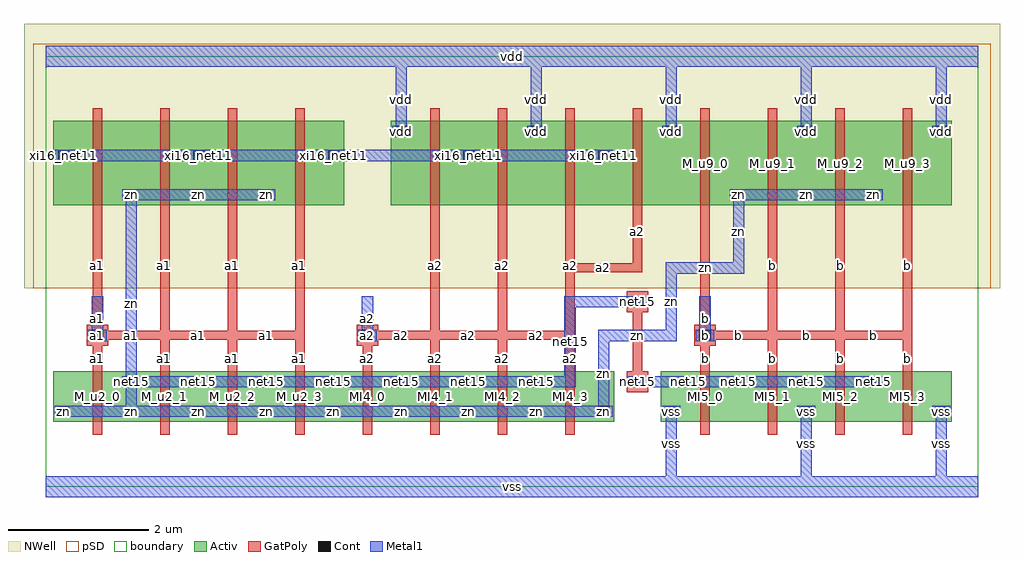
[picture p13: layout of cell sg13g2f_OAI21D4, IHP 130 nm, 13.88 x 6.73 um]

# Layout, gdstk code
import gdstk
lib = gdstk.Library(unit=1e-6, precision=1e-09)
def R(c, l, rs):  # rectangles x0, y0, x1, y1
    for r in rs: c.add(gdstk.rectangle(r[:2], r[2:], *l))
def A(c, l, x, y, w, h, nx, ny, dx, dy):  # array of equal rectangles
    R(c, l, [(x+i*dx, y+j*dy, x+i*dx+w, y+j*dy+h) for i in range(nx) for j in range(ny)])
Activ = (1, 0)
GatPoly = (5, 0)
Cont = (6, 0)
Metal1 = (8, 0)
pSD = (14, 0)
NWell = (31, 0)
TEXT = (63, 0)
boundary = (189, 4)

sg13g2f_oai21d4 = lib.new_cell('sg13g2f_OAI21D4')
A(sg13g2f_oai21d4, Activ, 0.105, 0.92, 1.26, 0.72, 8, 1, 0.96, 0)
A(sg13g2f_oai21d4, Activ, 0.105, 0.92, 0.3, 0.3, 5, 2, 1.92, 3.64)
A(sg13g2f_oai21d4, Activ, 8.745, 0.92, 1.26, 0.72, 4, 1, 0.96, 0)
A(sg13g2f_oai21d4, Activ, 8.745, 0.92, 0.3, 0.3, 3, 1, 1.92, 0)
A(sg13g2f_oai21d4, Activ, 1.065, 1.34, 0.3, 0.3, 4, 1, 1.92, 0)
A(sg13g2f_oai21d4, Activ, 0.105, 4, 1.26, 1.2, 4, 1, 0.96, 0)
A(sg13g2f_oai21d4, Activ, 4.905, 4, 1.26, 1.2, 8, 1, 0.96, 0)
A(sg13g2f_oai21d4, Activ, 4.905, 4.9, 0.3, 0.3, 5, 1, 1.92, 0)
R(sg13g2f_oai21d4, Activ, [(9.705,1.34,10.005,1.64), (11.625,1.34,11.925,1.64), (1.065,4,1.365,4.3), (2.985,4,3.285,4.3), (9.705,4,10.005,4.3), (11.625,4,11.925,4.3)])
A(sg13g2f_oai21d4, GatPoly, 0.67, 0.74, 0.13, 1.08, 8, 1, 0.96, 0)
A(sg13g2f_oai21d4, GatPoly, 9.31, 0.74, 0.13, 1.08, 4, 1, 0.96, 0)
A(sg13g2f_oai21d4, GatPoly, 0.67, 1.425, 0.13, 0.79, 8, 1, 0.96, 0)
A(sg13g2f_oai21d4, GatPoly, 9.31, 1.425, 0.13, 0.79, 4, 1, 0.96, 0)
A(sg13g2f_oai21d4, GatPoly, 0.67, 2.085, 1.09, 0.13, 3, 1, 0.96, 0)
A(sg13g2f_oai21d4, GatPoly, 0.67, 2.085, 0.13, 2.13, 4, 1, 0.96, 0)
A(sg13g2f_oai21d4, GatPoly, 4.51, 2.085, 1.09, 0.13, 3, 1, 0.96, 0)
A(sg13g2f_oai21d4, GatPoly, 5.47, 2.085, 0.13, 2.13, 3, 1, 0.96, 0)
A(sg13g2f_oai21d4, GatPoly, 9.31, 2.085, 1.09, 0.13, 3, 1, 0.96, 0)
A(sg13g2f_oai21d4, GatPoly, 9.31, 2.085, 0.13, 2.13, 4, 1, 0.96, 0)
A(sg13g2f_oai21d4, GatPoly, 0.67, 3.82, 0.13, 1.56, 4, 1, 0.96, 0)
A(sg13g2f_oai21d4, GatPoly, 5.47, 3.82, 0.13, 1.56, 8, 1, 0.96, 0)
R(sg13g2f_oai21d4, GatPoly, [(8.265,1.34,8.565,1.64), (8.35,1.425,8.48,2.695), (0.585,2,0.885,2.3), (4.425,2,4.725,2.3), (9.225,2,9.525,2.3), (8.265,2.48,8.565,2.78), (7.39,3.045,8.48,3.175), (8.35,3.045,8.48,4.215)])
A(sg13g2f_oai21d4, Cont, 0.175, 0.99, 0.16, 0.16, 5, 2, 1.92, 3.64)
A(sg13g2f_oai21d4, Cont, 8.815, 0.99, 0.16, 0.16, 3, 1, 1.92, 0)
A(sg13g2f_oai21d4, Cont, 1.135, 1.41, 0.16, 0.16, 4, 1, 1.92, 0)
A(sg13g2f_oai21d4, Cont, 4.975, 4.97, 0.16, 0.16, 5, 1, 1.92, 0)
R(sg13g2f_oai21d4, Cont, [(8.335,1.41,8.495,1.57), (9.775,1.41,9.935,1.57), (11.695,1.41,11.855,1.57), (0.655,2.07,0.815,2.23), (4.495,2.07,4.655,2.23), (9.295,2.07,9.455,2.23), (8.335,2.55,8.495,2.71), (1.135,4.07,1.295,4.23), (3.055,4.07,3.215,4.23), (9.775,4.07,9.935,4.23), (11.695,4.07,11.855,4.23)])
A(sg13g2f_oai21d4, Metal1, 8.815, 0.07, 0.16, 1.08, 3, 1, 1.92, 0)
A(sg13g2f_oai21d4, Metal1, 0.125, 0.99, 0.26, 0.16, 5, 2, 1.92, 3.64)
A(sg13g2f_oai21d4, Metal1, 0.175, 0.99, 2.08, 0.16, 4, 2, 1.92, 3.64)
A(sg13g2f_oai21d4, Metal1, 8.765, 0.99, 0.26, 0.16, 3, 1, 1.92, 0)
A(sg13g2f_oai21d4, Metal1, 1.085, 1.41, 0.26, 0.16, 4, 1, 1.92, 0)
A(sg13g2f_oai21d4, Metal1, 1.135, 1.41, 2.08, 0.16, 3, 1, 1.92, 0)
A(sg13g2f_oai21d4, Metal1, 4.925, 4.97, 0.26, 0.16, 5, 1, 1.92, 0)
A(sg13g2f_oai21d4, Metal1, 4.975, 4.97, 0.16, 1.08, 5, 1, 1.92, 0)
R(sg13g2f_oai21d4, Metal1, [(0,-0.15,13.26,0.15), (1.135,0.99,1.295,4.23), (7.855,0.99,8.015,2.23), (6.895,1.41,7.535,1.57), (7.375,1.41,7.535,2.71), (8.285,1.41,8.545,1.57), (8.335,1.41,9.935,1.57), (9.725,1.41,9.985,1.57), (9.775,1.41,11.855,1.57), (11.645,1.41,11.905,1.57), (0.605,2.07,0.865,2.23), (0.655,2.07,0.815,2.71), (4.445,2.07,4.705,2.23), (4.495,2.07,4.655,2.71), (7.855,2.07,8.975,2.23), (8.815,2.07,8.975,3.19), (9.245,2.07,9.505,2.23), (9.295,2.07,9.455,2.71), (7.375,2.55,8.495,2.71), (8.285,2.55,8.545,2.71), (8.815,3.03,9.935,3.19), (9.775,3.03,9.935,4.23), (1.085,4.07,1.345,4.23), (1.135,4.07,3.215,4.23), (3.005,4.07,3.265,4.23), (9.725,4.07,9.985,4.23), (9.775,4.07,11.855,4.23), (11.645,4.07,11.905,4.23), (0,5.97,13.26,6.27)])
R(sg13g2f_oai21d4, pSD, [(-0.18,2.82,13.44,5.94), (-0.18,5.94,13.44,6.3)])
R(sg13g2f_oai21d4, NWell, [(-0.31,2.82,13.57,6.58)])
R(sg13g2f_oai21d4, boundary, [(0,0,13.26,6.12)])
sg13g2f_oai21d4.add(gdstk.FlexPath([(0.105,0.41),(12.885,0.41)], 0, ends="flush", simple_path=True, layer=63, datatype=0))  # TEXT
sg13g2f_oai21d4.add(gdstk.FlexPath([(0.105,1.07),(12.885,1.07)], 0, ends="flush", simple_path=True, layer=63, datatype=0))  # TEXT
sg13g2f_oai21d4.add(gdstk.FlexPath([(0.105,1.49),(12.885,1.49)], 0, ends="flush", simple_path=True, layer=63, datatype=0))  # TEXT
sg13g2f_oai21d4.add(gdstk.FlexPath([(0.105,2.15),(12.885,2.15)], 0, ends="flush", simple_path=True, layer=63, datatype=0))  # TEXT
sg13g2f_oai21d4.add(gdstk.FlexPath([(0.105,2.63),(12.885,2.63)], 0, ends="flush", simple_path=True, layer=63, datatype=0))  # TEXT
sg13g2f_oai21d4.add(gdstk.FlexPath([(0.105,3.11),(12.885,3.11)], 0, ends="flush", simple_path=True, layer=63, datatype=0))  # TEXT
sg13g2f_oai21d4.add(gdstk.FlexPath([(0.105,4.15),(12.885,4.15)], 0, ends="flush", simple_path=True, layer=63, datatype=0))  # TEXT
sg13g2f_oai21d4.add(gdstk.FlexPath([(0.105,4.71),(12.885,4.71)], 0, ends="flush", simple_path=True, layer=63, datatype=0))  # TEXT
sg13g2f_oai21d4.add(gdstk.FlexPath([(0.105,5.05),(12.885,5.05)], 0, ends="flush", simple_path=True, layer=63, datatype=0))  # TEXT
sg13g2f_oai21d4.add(gdstk.FlexPath([(0.105,5.71),(12.885,5.71)], 0, ends="flush", simple_path=True, layer=63, datatype=0))  # TEXT
sg13g2f_oai21d4.add(gdstk.FlexPath([(0.255,0.07),(0.255,6.05)], 0, ends="flush", simple_path=True, layer=63, datatype=0))  # TEXT
sg13g2f_oai21d4.add(gdstk.FlexPath([(0.735,0.07),(0.735,6.05)], 0, ends="flush", simple_path=True, layer=63, datatype=0))  # TEXT
sg13g2f_oai21d4.add(gdstk.FlexPath([(1.215,0.07),(1.215,6.05)], 0, ends="flush", simple_path=True, layer=63, datatype=0))  # TEXT
sg13g2f_oai21d4.add(gdstk.FlexPath([(1.695,0.07),(1.695,6.05)], 0, ends="flush", simple_path=True, layer=63, datatype=0))  # TEXT
sg13g2f_oai21d4.add(gdstk.FlexPath([(2.175,0.07),(2.175,6.05)], 0, ends="flush", simple_path=True, layer=63, datatype=0))  # TEXT
sg13g2f_oai21d4.add(gdstk.FlexPath([(2.655,0.07),(2.655,6.05)], 0, ends="flush", simple_path=True, layer=63, datatype=0))  # TEXT
sg13g2f_oai21d4.add(gdstk.FlexPath([(3.135,0.07),(3.135,6.05)], 0, ends="flush", simple_path=True, layer=63, datatype=0))  # TEXT
sg13g2f_oai21d4.add(gdstk.FlexPath([(3.615,0.07),(3.615,6.05)], 0, ends="flush", simple_path=True, layer=63, datatype=0))  # TEXT
sg13g2f_oai21d4.add(gdstk.FlexPath([(4.095,0.07),(4.095,6.05)], 0, ends="flush", simple_path=True, layer=63, datatype=0))  # TEXT
sg13g2f_oai21d4.add(gdstk.FlexPath([(4.575,0.07),(4.575,6.05)], 0, ends="flush", simple_path=True, layer=63, datatype=0))  # TEXT
sg13g2f_oai21d4.add(gdstk.FlexPath([(5.055,0.07),(5.055,6.05)], 0, ends="flush", simple_path=True, layer=63, datatype=0))  # TEXT
sg13g2f_oai21d4.add(gdstk.FlexPath([(5.535,0.07),(5.535,6.05)], 0, ends="flush", simple_path=True, layer=63, datatype=0))  # TEXT
sg13g2f_oai21d4.add(gdstk.FlexPath([(6.015,0.07),(6.015,6.05)], 0, ends="flush", simple_path=True, layer=63, datatype=0))  # TEXT
sg13g2f_oai21d4.add(gdstk.FlexPath([(6.495,0.07),(6.495,6.05)], 0, ends="flush", simple_path=True, layer=63, datatype=0))  # TEXT
sg13g2f_oai21d4.add(gdstk.FlexPath([(6.975,0.07),(6.975,6.05)], 0, ends="flush", simple_path=True, layer=63, datatype=0))  # TEXT
sg13g2f_oai21d4.add(gdstk.FlexPath([(7.455,0.07),(7.455,6.05)], 0, ends="flush", simple_path=True, layer=63, datatype=0))  # TEXT
sg13g2f_oai21d4.add(gdstk.FlexPath([(7.935,0.07),(7.935,6.05)], 0, ends="flush", simple_path=True, layer=63, datatype=0))  # TEXT
sg13g2f_oai21d4.add(gdstk.FlexPath([(8.415,0.07),(8.415,6.05)], 0, ends="flush", simple_path=True, layer=63, datatype=0))  # TEXT
sg13g2f_oai21d4.add(gdstk.FlexPath([(8.895,0.07),(8.895,6.05)], 0, ends="flush", simple_path=True, layer=63, datatype=0))  # TEXT
sg13g2f_oai21d4.add(gdstk.FlexPath([(9.375,0.07),(9.375,6.05)], 0, ends="flush", simple_path=True, layer=63, datatype=0))  # TEXT
sg13g2f_oai21d4.add(gdstk.FlexPath([(9.855,0.07),(9.855,6.05)], 0, ends="flush", simple_path=True, layer=63, datatype=0))  # TEXT
sg13g2f_oai21d4.add(gdstk.FlexPath([(10.335,0.07),(10.335,6.05)], 0, ends="flush", simple_path=True, layer=63, datatype=0))  # TEXT
sg13g2f_oai21d4.add(gdstk.FlexPath([(10.815,0.07),(10.815,6.05)], 0, ends="flush", simple_path=True, layer=63, datatype=0))  # TEXT
sg13g2f_oai21d4.add(gdstk.FlexPath([(11.295,0.07),(11.295,6.05)], 0, ends="flush", simple_path=True, layer=63, datatype=0))  # TEXT
sg13g2f_oai21d4.add(gdstk.FlexPath([(11.775,0.07),(11.775,6.05)], 0, ends="flush", simple_path=True, layer=63, datatype=0))  # TEXT
sg13g2f_oai21d4.add(gdstk.FlexPath([(12.255,0.07),(12.255,6.05)], 0, ends="flush", simple_path=True, layer=63, datatype=0))  # TEXT
sg13g2f_oai21d4.add(gdstk.FlexPath([(12.735,0.07),(12.735,6.05)], 0, ends="flush", simple_path=True, layer=63, datatype=0))  # TEXT
sg13g2f_oai21d4.add(gdstk.Label('zn', (0.255,1.07), layer=6, texttype=0))
sg13g2f_oai21d4.add(gdstk.Label('zn', (2.175,1.07), layer=6, texttype=0))
sg13g2f_oai21d4.add(gdstk.Label('zn', (4.095,1.07), layer=6, texttype=0))
sg13g2f_oai21d4.add(gdstk.Label('zn', (6.015,1.07), layer=6, texttype=0))
sg13g2f_oai21d4.add(gdstk.Label('zn', (7.935,1.07), layer=6, texttype=0))
sg13g2f_oai21d4.add(gdstk.Label('zn', (1.215,4.15), layer=6, texttype=0))
sg13g2f_oai21d4.add(gdstk.Label('zn', (3.135,4.15), layer=6, texttype=0))
sg13g2f_oai21d4.add(gdstk.Label('zn', (9.855,4.15), layer=6, texttype=0))
sg13g2f_oai21d4.add(gdstk.Label('zn', (11.775,4.15), layer=6, texttype=0))
sg13g2f_oai21d4.add(gdstk.Label('a1', (0.735,2.15), layer=6, texttype=0))
sg13g2f_oai21d4.add(gdstk.Label('net15', (1.215,1.49), layer=6, texttype=0))
sg13g2f_oai21d4.add(gdstk.Label('net15', (3.135,1.49), layer=6, texttype=0))
sg13g2f_oai21d4.add(gdstk.Label('net15', (5.055,1.49), layer=6, texttype=0))
sg13g2f_oai21d4.add(gdstk.Label('net15', (6.975,1.49), layer=6, texttype=0))
sg13g2f_oai21d4.add(gdstk.Label('net15', (9.855,1.49), layer=6, texttype=0))
sg13g2f_oai21d4.add(gdstk.Label('net15', (11.775,1.49), layer=6, texttype=0))
sg13g2f_oai21d4.add(gdstk.Label('net15', (8.415,2.63), layer=6, texttype=0))
sg13g2f_oai21d4.add(gdstk.Label('net15', (8.415,1.49), layer=6, texttype=0))
sg13g2f_oai21d4.add(gdstk.Label('a2', (4.575,2.15), layer=6, texttype=0))
sg13g2f_oai21d4.add(gdstk.Label('b', (9.375,2.15), layer=6, texttype=0))
sg13g2f_oai21d4.add(gdstk.Label('xi16_net11', (0.255,4.71), layer=6, texttype=0))
sg13g2f_oai21d4.add(gdstk.Label('xi16_net11', (2.175,4.71), layer=6, texttype=0))
sg13g2f_oai21d4.add(gdstk.Label('xi16_net11', (4.095,4.71), layer=6, texttype=0))
sg13g2f_oai21d4.add(gdstk.Label('xi16_net11', (6.015,4.71), layer=6, texttype=0))
sg13g2f_oai21d4.add(gdstk.Label('xi16_net11', (7.935,4.71), layer=6, texttype=0))
sg13g2f_oai21d4.add(gdstk.Label('vss', (8.895,1.07), layer=6, texttype=0))
sg13g2f_oai21d4.add(gdstk.Label('vss', (10.815,1.07), layer=6, texttype=0))
sg13g2f_oai21d4.add(gdstk.Label('vss', (12.735,1.07), layer=6, texttype=0))
sg13g2f_oai21d4.add(gdstk.Label('vdd', (5.055,5.05), layer=6, texttype=0))
sg13g2f_oai21d4.add(gdstk.Label('vdd', (6.975,5.05), layer=6, texttype=0))
sg13g2f_oai21d4.add(gdstk.Label('vdd', (8.895,5.05), layer=6, texttype=0))
sg13g2f_oai21d4.add(gdstk.Label('vdd', (10.815,5.05), layer=6, texttype=0))
sg13g2f_oai21d4.add(gdstk.Label('vdd', (12.735,5.05), layer=6, texttype=0))
sg13g2f_oai21d4.add(gdstk.Label('net15', (1.215,1.49), layer=8, texttype=0))
sg13g2f_oai21d4.add(gdstk.Label('net15', (3.135,1.49), layer=8, texttype=0))
sg13g2f_oai21d4.add(gdstk.Label('net15', (5.055,1.49), layer=8, texttype=0))
sg13g2f_oai21d4.add(gdstk.Label('net15', (6.975,1.49), layer=8, texttype=0))
sg13g2f_oai21d4.add(gdstk.Label('net15', (9.855,1.49), layer=8, texttype=0))
sg13g2f_oai21d4.add(gdstk.Label('net15', (11.775,1.49), layer=8, texttype=0))
sg13g2f_oai21d4.add(gdstk.Label('net15', (2.175,1.49), layer=8, texttype=0))
sg13g2f_oai21d4.add(gdstk.Label('net15', (4.095,1.49), layer=8, texttype=0))
sg13g2f_oai21d4.add(gdstk.Label('net15', (6.015,1.49), layer=8, texttype=0))
sg13g2f_oai21d4.add(gdstk.Label('net15', (7.215,1.49), layer=8, texttype=0))
sg13g2f_oai21d4.add(gdstk.Label('net15', (7.455,2.06), layer=8, texttype=0))
sg13g2f_oai21d4.add(gdstk.Label('net15', (7.935,2.63), layer=8, texttype=0))
sg13g2f_oai21d4.add(gdstk.Label('net15', (8.415,2.63), layer=8, texttype=0))
sg13g2f_oai21d4.add(gdstk.Label('net15', (8.415,1.49), layer=8, texttype=0))
sg13g2f_oai21d4.add(gdstk.Label('net15', (9.135,1.49), layer=8, texttype=0))
sg13g2f_oai21d4.add(gdstk.Label('net15', (10.815,1.49), layer=8, texttype=0))
sg13g2f_oai21d4.add(gdstk.Label('xi16_net11', (0.255,4.71), layer=8, texttype=0))
sg13g2f_oai21d4.add(gdstk.Label('xi16_net11', (2.175,4.71), layer=8, texttype=0))
sg13g2f_oai21d4.add(gdstk.Label('xi16_net11', (4.095,4.71), layer=8, texttype=0))
sg13g2f_oai21d4.add(gdstk.Label('xi16_net11', (6.015,4.71), layer=8, texttype=0))
sg13g2f_oai21d4.add(gdstk.Label('xi16_net11', (7.935,4.71), layer=8, texttype=0))
sg13g2f_oai21d4.add(gdstk.Label('xi16_net11', (1.215,4.71), layer=8, texttype=0))
sg13g2f_oai21d4.add(gdstk.Label('xi16_net11', (3.135,4.71), layer=8, texttype=0))
sg13g2f_oai21d4.add(gdstk.Label('xi16_net11', (5.055,4.71), layer=8, texttype=0))
sg13g2f_oai21d4.add(gdstk.Label('xi16_net11', (6.975,4.71), layer=8, texttype=0))
sg13g2f_oai21d4.add(gdstk.Label('vss', (8.895,1.07), layer=8, texttype=0))
sg13g2f_oai21d4.add(gdstk.Label('vss', (8.895,0.61), layer=8, texttype=0))
sg13g2f_oai21d4.add(gdstk.Label('vss', (10.815,1.07), layer=8, texttype=0))
sg13g2f_oai21d4.add(gdstk.Label('vss', (10.815,0.61), layer=8, texttype=0))
sg13g2f_oai21d4.add(gdstk.Label('vss', (12.735,1.07), layer=8, texttype=0))
sg13g2f_oai21d4.add(gdstk.Label('vss', (12.735,0.61), layer=8, texttype=0))
sg13g2f_oai21d4.add(gdstk.Label('vdd', (5.055,5.05), layer=8, texttype=0))
sg13g2f_oai21d4.add(gdstk.Label('vdd', (5.055,5.51), layer=8, texttype=0))
sg13g2f_oai21d4.add(gdstk.Label('vdd', (6.975,5.05), layer=8, texttype=0))
sg13g2f_oai21d4.add(gdstk.Label('vdd', (6.975,5.51), layer=8, texttype=0))
sg13g2f_oai21d4.add(gdstk.Label('vdd', (8.895,5.05), layer=8, texttype=0))
sg13g2f_oai21d4.add(gdstk.Label('vdd', (8.895,5.51), layer=8, texttype=0))
sg13g2f_oai21d4.add(gdstk.Label('vdd', (10.815,5.05), layer=8, texttype=0))
sg13g2f_oai21d4.add(gdstk.Label('vdd', (10.815,5.51), layer=8, texttype=0))
sg13g2f_oai21d4.add(gdstk.Label('vdd', (12.735,5.05), layer=8, texttype=0))
sg13g2f_oai21d4.add(gdstk.Label('vdd', (12.735,5.51), layer=8, texttype=0))
sg13g2f_oai21d4.add(gdstk.Label('zn', (0.255,1.07), layer=8, texttype=2))
sg13g2f_oai21d4.add(gdstk.Label('zn', (2.175,1.07), layer=8, texttype=2))
sg13g2f_oai21d4.add(gdstk.Label('zn', (4.095,1.07), layer=8, texttype=2))
sg13g2f_oai21d4.add(gdstk.Label('zn', (6.015,1.07), layer=8, texttype=2))
sg13g2f_oai21d4.add(gdstk.Label('zn', (7.935,1.07), layer=8, texttype=2))
sg13g2f_oai21d4.add(gdstk.Label('zn', (1.215,4.15), layer=8, texttype=2))
sg13g2f_oai21d4.add(gdstk.Label('zn', (3.135,4.15), layer=8, texttype=2))
sg13g2f_oai21d4.add(gdstk.Label('zn', (9.855,4.15), layer=8, texttype=2))
sg13g2f_oai21d4.add(gdstk.Label('zn', (11.775,4.15), layer=8, texttype=2))
sg13g2f_oai21d4.add(gdstk.Label('zn', (1.215,1.07), layer=8, texttype=2))
sg13g2f_oai21d4.add(gdstk.Label('zn', (3.135,1.07), layer=8, texttype=2))
sg13g2f_oai21d4.add(gdstk.Label('zn', (5.055,1.07), layer=8, texttype=2))
sg13g2f_oai21d4.add(gdstk.Label('zn', (6.975,1.07), layer=8, texttype=2))
sg13g2f_oai21d4.add(gdstk.Label('zn', (1.215,2.61), layer=8, texttype=2))
sg13g2f_oai21d4.add(gdstk.Label('zn', (2.175,4.15), layer=8, texttype=2))
sg13g2f_oai21d4.add(gdstk.Label('zn', (7.935,1.61), layer=8, texttype=2))
sg13g2f_oai21d4.add(gdstk.Label('zn', (8.415,2.15), layer=8, texttype=2))
sg13g2f_oai21d4.add(gdstk.Label('zn', (8.895,2.63), layer=8, texttype=2))
sg13g2f_oai21d4.add(gdstk.Label('zn', (9.375,3.11), layer=8, texttype=2))
sg13g2f_oai21d4.add(gdstk.Label('zn', (9.855,3.63), layer=8, texttype=2))
sg13g2f_oai21d4.add(gdstk.Label('zn', (10.815,4.15), layer=8, texttype=2))
sg13g2f_oai21d4.add(gdstk.Label('a1', (0.735,2.15), layer=8, texttype=2))
sg13g2f_oai21d4.add(gdstk.Label('a1', (0.735,2.39), layer=8, texttype=2))
sg13g2f_oai21d4.add(gdstk.Label('a2', (4.575,2.15), layer=8, texttype=2))
sg13g2f_oai21d4.add(gdstk.Label('a2', (4.575,2.39), layer=8, texttype=2))
sg13g2f_oai21d4.add(gdstk.Label('b', (9.375,2.15), layer=8, texttype=2))
sg13g2f_oai21d4.add(gdstk.Label('b', (9.375,2.39), layer=8, texttype=2))
sg13g2f_oai21d4.add(gdstk.Label('vss', (6.63,0), layer=8, texttype=2))
sg13g2f_oai21d4.add(gdstk.Label('vdd', (6.63,6.12), layer=8, texttype=2))
sg13g2f_oai21d4.add(gdstk.Label('zn', (0.255,1.07), layer=8, texttype=2))
sg13g2f_oai21d4.add(gdstk.Label('zn', (2.175,1.07), layer=8, texttype=2))
sg13g2f_oai21d4.add(gdstk.Label('zn', (4.095,1.07), layer=8, texttype=2))
sg13g2f_oai21d4.add(gdstk.Label('zn', (6.015,1.07), layer=8, texttype=2))
sg13g2f_oai21d4.add(gdstk.Label('zn', (7.935,1.07), layer=8, texttype=2))
sg13g2f_oai21d4.add(gdstk.Label('zn', (1.215,4.15), layer=8, texttype=2))
sg13g2f_oai21d4.add(gdstk.Label('zn', (3.135,4.15), layer=8, texttype=2))
sg13g2f_oai21d4.add(gdstk.Label('zn', (9.855,4.15), layer=8, texttype=2))
sg13g2f_oai21d4.add(gdstk.Label('zn', (11.775,4.15), layer=8, texttype=2))
sg13g2f_oai21d4.add(gdstk.Label('zn', (1.215,1.07), layer=8, texttype=2))
sg13g2f_oai21d4.add(gdstk.Label('zn', (3.135,1.07), layer=8, texttype=2))
sg13g2f_oai21d4.add(gdstk.Label('zn', (5.055,1.07), layer=8, texttype=2))
sg13g2f_oai21d4.add(gdstk.Label('zn', (6.975,1.07), layer=8, texttype=2))
sg13g2f_oai21d4.add(gdstk.Label('zn', (1.215,2.61), layer=8, texttype=2))
sg13g2f_oai21d4.add(gdstk.Label('zn', (2.175,4.15), layer=8, texttype=2))
sg13g2f_oai21d4.add(gdstk.Label('zn', (7.935,1.61), layer=8, texttype=2))
sg13g2f_oai21d4.add(gdstk.Label('zn', (8.415,2.15), layer=8, texttype=2))
sg13g2f_oai21d4.add(gdstk.Label('zn', (8.895,2.63), layer=8, texttype=2))
sg13g2f_oai21d4.add(gdstk.Label('zn', (9.375,3.11), layer=8, texttype=2))
sg13g2f_oai21d4.add(gdstk.Label('zn', (9.855,3.63), layer=8, texttype=2))
sg13g2f_oai21d4.add(gdstk.Label('zn', (10.815,4.15), layer=8, texttype=2))
sg13g2f_oai21d4.add(gdstk.Label('a1', (0.735,2.15), layer=8, texttype=2))
sg13g2f_oai21d4.add(gdstk.Label('a1', (0.735,2.39), layer=8, texttype=2))
sg13g2f_oai21d4.add(gdstk.Label('a2', (4.575,2.15), layer=8, texttype=2))
sg13g2f_oai21d4.add(gdstk.Label('a2', (4.575,2.39), layer=8, texttype=2))
sg13g2f_oai21d4.add(gdstk.Label('b', (9.375,2.15), layer=8, texttype=2))
sg13g2f_oai21d4.add(gdstk.Label('b', (9.375,2.39), layer=8, texttype=2))
sg13g2f_oai21d4.add(gdstk.Label('vss', (6.63,0), layer=8, texttype=2))
sg13g2f_oai21d4.add(gdstk.Label('vdd', (6.63,6.12), layer=8, texttype=2))
sg13g2f_oai21d4.add(gdstk.Label('M_u2_0', (0.735,1.28), layer=1, texttype=0))
sg13g2f_oai21d4.add(gdstk.Label('M_u2_1', (1.695,1.28), layer=1, texttype=0))
sg13g2f_oai21d4.add(gdstk.Label('M_u2_2', (2.655,1.28), layer=1, texttype=0))
sg13g2f_oai21d4.add(gdstk.Label('M_u2_3', (3.615,1.28), layer=1, texttype=0))
sg13g2f_oai21d4.add(gdstk.Label('MI4_0', (4.575,1.28), layer=1, texttype=0))
sg13g2f_oai21d4.add(gdstk.Label('MI4_1', (5.535,1.28), layer=1, texttype=0))
sg13g2f_oai21d4.add(gdstk.Label('MI4_2', (6.495,1.28), layer=1, texttype=0))
sg13g2f_oai21d4.add(gdstk.Label('MI4_3', (7.455,1.28), layer=1, texttype=0))
sg13g2f_oai21d4.add(gdstk.Label('MI5_0', (9.375,1.28), layer=1, texttype=0))
sg13g2f_oai21d4.add(gdstk.Label('MI5_1', (10.335,1.28), layer=1, texttype=0))
sg13g2f_oai21d4.add(gdstk.Label('MI5_2', (11.295,1.28), layer=1, texttype=0))
sg13g2f_oai21d4.add(gdstk.Label('MI5_3', (12.255,1.28), layer=1, texttype=0))
sg13g2f_oai21d4.add(gdstk.Label('MI16_MI12_0', (0.735,4.6), layer=1, texttype=0))
sg13g2f_oai21d4.add(gdstk.Label('MI16_MI12_1', (1.695,4.6), layer=1, texttype=0))
sg13g2f_oai21d4.add(gdstk.Label('MI16_MI12_2', (2.655,4.6), layer=1, texttype=0))
sg13g2f_oai21d4.add(gdstk.Label('MI16_MI12_3', (3.615,4.6), layer=1, texttype=0))
sg13g2f_oai21d4.add(gdstk.Label('MI16_MI13_0', (5.535,4.6), layer=1, texttype=0))
sg13g2f_oai21d4.add(gdstk.Label('MI16_MI13_1', (6.495,4.6), layer=1, texttype=0))
sg13g2f_oai21d4.add(gdstk.Label('MI16_MI13_2', (7.455,4.6), layer=1, texttype=0))
sg13g2f_oai21d4.add(gdstk.Label('MI16_MI13_3', (8.415,4.6), layer=1, texttype=0))
sg13g2f_oai21d4.add(gdstk.Label('M_u9_0', (9.375,4.6), layer=1, texttype=0))
sg13g2f_oai21d4.add(gdstk.Label('M_u9_1', (10.335,4.6), layer=1, texttype=0))
sg13g2f_oai21d4.add(gdstk.Label('M_u9_2', (11.295,4.6), layer=1, texttype=0))
sg13g2f_oai21d4.add(gdstk.Label('M_u9_3', (12.255,4.6), layer=1, texttype=0))
sg13g2f_oai21d4.add(gdstk.Label('zn', (0.255,1.07), layer=1, texttype=0))
sg13g2f_oai21d4.add(gdstk.Label('zn', (2.175,1.07), layer=1, texttype=0))
sg13g2f_oai21d4.add(gdstk.Label('zn', (4.095,1.07), layer=1, texttype=0))
sg13g2f_oai21d4.add(gdstk.Label('zn', (6.015,1.07), layer=1, texttype=0))
sg13g2f_oai21d4.add(gdstk.Label('zn', (7.935,1.07), layer=1, texttype=0))
sg13g2f_oai21d4.add(gdstk.Label('zn', (1.215,4.15), layer=1, texttype=0))
sg13g2f_oai21d4.add(gdstk.Label('zn', (3.135,4.15), layer=1, texttype=0))
sg13g2f_oai21d4.add(gdstk.Label('zn', (9.855,4.15), layer=1, texttype=0))
sg13g2f_oai21d4.add(gdstk.Label('zn', (11.775,4.15), layer=1, texttype=0))
sg13g2f_oai21d4.add(gdstk.Label('net15', (1.215,1.49), layer=1, texttype=0))
sg13g2f_oai21d4.add(gdstk.Label('net15', (3.135,1.49), layer=1, texttype=0))
sg13g2f_oai21d4.add(gdstk.Label('net15', (5.055,1.49), layer=1, texttype=0))
sg13g2f_oai21d4.add(gdstk.Label('net15', (6.975,1.49), layer=1, texttype=0))
sg13g2f_oai21d4.add(gdstk.Label('net15', (9.855,1.49), layer=1, texttype=0))
sg13g2f_oai21d4.add(gdstk.Label('net15', (11.775,1.49), layer=1, texttype=0))
sg13g2f_oai21d4.add(gdstk.Label('xi16_net11', (0.255,4.71), layer=1, texttype=0))
sg13g2f_oai21d4.add(gdstk.Label('xi16_net11', (2.175,4.71), layer=1, texttype=0))
sg13g2f_oai21d4.add(gdstk.Label('xi16_net11', (4.095,4.71), layer=1, texttype=0))
sg13g2f_oai21d4.add(gdstk.Label('xi16_net11', (6.015,4.71), layer=1, texttype=0))
sg13g2f_oai21d4.add(gdstk.Label('xi16_net11', (7.935,4.71), layer=1, texttype=0))
sg13g2f_oai21d4.add(gdstk.Label('vss', (8.895,1.07), layer=1, texttype=0))
sg13g2f_oai21d4.add(gdstk.Label('vss', (10.815,1.07), layer=1, texttype=0))
sg13g2f_oai21d4.add(gdstk.Label('vss', (12.735,1.07), layer=1, texttype=0))
sg13g2f_oai21d4.add(gdstk.Label('vdd', (5.055,5.05), layer=1, texttype=0))
sg13g2f_oai21d4.add(gdstk.Label('vdd', (6.975,5.05), layer=1, texttype=0))
sg13g2f_oai21d4.add(gdstk.Label('vdd', (8.895,5.05), layer=1, texttype=0))
sg13g2f_oai21d4.add(gdstk.Label('vdd', (10.815,5.05), layer=1, texttype=0))
sg13g2f_oai21d4.add(gdstk.Label('vdd', (12.735,5.05), layer=1, texttype=0))
sg13g2f_oai21d4.add(gdstk.Label('zn', (0.255,1.07), layer=8, texttype=25))
sg13g2f_oai21d4.add(gdstk.Label('zn', (2.175,1.07), layer=8, texttype=25))
sg13g2f_oai21d4.add(gdstk.Label('zn', (4.095,1.07), layer=8, texttype=25))
sg13g2f_oai21d4.add(gdstk.Label('zn', (6.015,1.07), layer=8, texttype=25))
sg13g2f_oai21d4.add(gdstk.Label('zn', (7.935,1.07), layer=8, texttype=25))
sg13g2f_oai21d4.add(gdstk.Label('zn', (1.215,4.15), layer=8, texttype=25))
sg13g2f_oai21d4.add(gdstk.Label('zn', (3.135,4.15), layer=8, texttype=25))
sg13g2f_oai21d4.add(gdstk.Label('zn', (9.855,4.15), layer=8, texttype=25))
sg13g2f_oai21d4.add(gdstk.Label('zn', (11.775,4.15), layer=8, texttype=25))
sg13g2f_oai21d4.add(gdstk.Label('zn', (1.215,1.07), layer=8, texttype=25))
sg13g2f_oai21d4.add(gdstk.Label('zn', (3.135,1.07), layer=8, texttype=25))
sg13g2f_oai21d4.add(gdstk.Label('zn', (5.055,1.07), layer=8, texttype=25))
sg13g2f_oai21d4.add(gdstk.Label('zn', (6.975,1.07), layer=8, texttype=25))
sg13g2f_oai21d4.add(gdstk.Label('zn', (1.215,2.61), layer=8, texttype=25))
sg13g2f_oai21d4.add(gdstk.Label('zn', (2.175,4.15), layer=8, texttype=25))
sg13g2f_oai21d4.add(gdstk.Label('zn', (7.935,1.61), layer=8, texttype=25))
sg13g2f_oai21d4.add(gdstk.Label('zn', (8.415,2.15), layer=8, texttype=25))
sg13g2f_oai21d4.add(gdstk.Label('zn', (8.895,2.63), layer=8, texttype=25))
sg13g2f_oai21d4.add(gdstk.Label('zn', (9.375,3.11), layer=8, texttype=25))
sg13g2f_oai21d4.add(gdstk.Label('zn', (9.855,3.63), layer=8, texttype=25))
sg13g2f_oai21d4.add(gdstk.Label('zn', (10.815,4.15), layer=8, texttype=25))
sg13g2f_oai21d4.add(gdstk.Label('a1', (0.735,2.15), layer=8, texttype=25))
sg13g2f_oai21d4.add(gdstk.Label('a1', (0.735,2.39), layer=8, texttype=25))
sg13g2f_oai21d4.add(gdstk.Label('a2', (4.575,2.15), layer=8, texttype=25))
sg13g2f_oai21d4.add(gdstk.Label('a2', (4.575,2.39), layer=8, texttype=25))
sg13g2f_oai21d4.add(gdstk.Label('b', (9.375,2.15), layer=8, texttype=25))
sg13g2f_oai21d4.add(gdstk.Label('b', (9.375,2.39), layer=8, texttype=25))
sg13g2f_oai21d4.add(gdstk.Label('vss', (6.63,0), layer=8, texttype=25))
sg13g2f_oai21d4.add(gdstk.Label('vdd', (6.63,6.12), layer=8, texttype=25))
sg13g2f_oai21d4.add(gdstk.Label('a1', (0.735,1.82), layer=5, texttype=0))
sg13g2f_oai21d4.add(gdstk.Label('a1', (1.215,2.15), layer=5, texttype=0))
sg13g2f_oai21d4.add(gdstk.Label('a1', (1.695,1.82), layer=5, texttype=0))
sg13g2f_oai21d4.add(gdstk.Label('a1', (2.175,2.15), layer=5, texttype=0))
sg13g2f_oai21d4.add(gdstk.Label('a1', (2.655,1.82), layer=5, texttype=0))
sg13g2f_oai21d4.add(gdstk.Label('a1', (3.135,2.15), layer=5, texttype=0))
sg13g2f_oai21d4.add(gdstk.Label('a1', (3.615,1.82), layer=5, texttype=0))
sg13g2f_oai21d4.add(gdstk.Label('a1', (0.735,3.15), layer=5, texttype=0))
sg13g2f_oai21d4.add(gdstk.Label('a1', (1.695,3.15), layer=5, texttype=0))
sg13g2f_oai21d4.add(gdstk.Label('a1', (2.655,3.15), layer=5, texttype=0))
sg13g2f_oai21d4.add(gdstk.Label('a1', (3.615,3.15), layer=5, texttype=0))
sg13g2f_oai21d4.add(gdstk.Label('a1', (0.735,2.15), layer=5, texttype=0))
sg13g2f_oai21d4.add(gdstk.Label('net15', (8.415,2.63), layer=5, texttype=0))
sg13g2f_oai21d4.add(gdstk.Label('net15', (8.415,2.06), layer=5, texttype=0))
sg13g2f_oai21d4.add(gdstk.Label('net15', (8.415,1.49), layer=5, texttype=0))
sg13g2f_oai21d4.add(gdstk.Label('a2', (4.575,1.82), layer=5, texttype=0))
sg13g2f_oai21d4.add(gdstk.Label('a2', (5.055,2.15), layer=5, texttype=0))
sg13g2f_oai21d4.add(gdstk.Label('a2', (5.535,1.82), layer=5, texttype=0))
sg13g2f_oai21d4.add(gdstk.Label('a2', (6.015,2.15), layer=5, texttype=0))
sg13g2f_oai21d4.add(gdstk.Label('a2', (6.495,1.82), layer=5, texttype=0))
sg13g2f_oai21d4.add(gdstk.Label('a2', (6.975,2.15), layer=5, texttype=0))
sg13g2f_oai21d4.add(gdstk.Label('a2', (7.455,1.82), layer=5, texttype=0))
sg13g2f_oai21d4.add(gdstk.Label('a2', (5.535,3.15), layer=5, texttype=0))
sg13g2f_oai21d4.add(gdstk.Label('a2', (6.495,3.15), layer=5, texttype=0))
sg13g2f_oai21d4.add(gdstk.Label('a2', (7.455,3.15), layer=5, texttype=0))
sg13g2f_oai21d4.add(gdstk.Label('a2', (7.935,3.11), layer=5, texttype=0))
sg13g2f_oai21d4.add(gdstk.Label('a2', (8.415,3.63), layer=5, texttype=0))
sg13g2f_oai21d4.add(gdstk.Label('a2', (4.575,2.15), layer=5, texttype=0))
sg13g2f_oai21d4.add(gdstk.Label('b', (9.375,1.82), layer=5, texttype=0))
sg13g2f_oai21d4.add(gdstk.Label('b', (9.855,2.15), layer=5, texttype=0))
sg13g2f_oai21d4.add(gdstk.Label('b', (10.335,1.82), layer=5, texttype=0))
sg13g2f_oai21d4.add(gdstk.Label('b', (10.815,2.15), layer=5, texttype=0))
sg13g2f_oai21d4.add(gdstk.Label('b', (11.295,1.82), layer=5, texttype=0))
sg13g2f_oai21d4.add(gdstk.Label('b', (11.775,2.15), layer=5, texttype=0))
sg13g2f_oai21d4.add(gdstk.Label('b', (12.255,1.82), layer=5, texttype=0))
sg13g2f_oai21d4.add(gdstk.Label('b', (9.375,3.15), layer=5, texttype=0))
sg13g2f_oai21d4.add(gdstk.Label('b', (10.335,3.15), layer=5, texttype=0))
sg13g2f_oai21d4.add(gdstk.Label('b', (11.295,3.15), layer=5, texttype=0))
sg13g2f_oai21d4.add(gdstk.Label('b', (12.255,3.15), layer=5, texttype=0))
sg13g2f_oai21d4.add(gdstk.Label('b', (9.375,2.15), layer=5, texttype=0))

lib.write_gds('sg13g2f_OAI21D4.gds')
